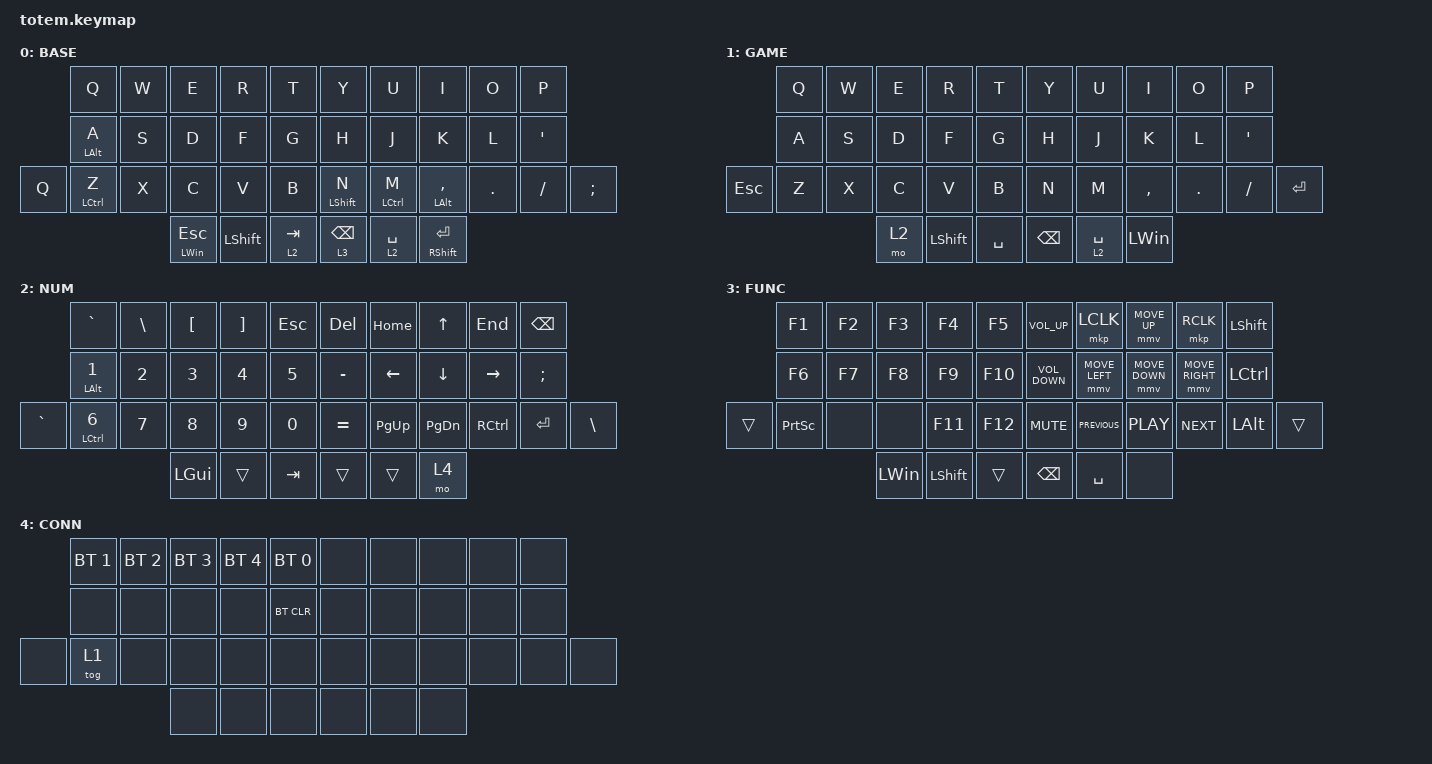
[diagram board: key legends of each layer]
//
//                                                        ▀▀▀▀▀     ▀▀▀▀▀          ▀▀█▀▀
//                                                        ▄▀▀▀▄  ▄  ▄▀▀▀▄  ▄  ▄▀▀▀▄  █  ▄▀▀▀▄
//                                                        █   █  █  █   █  █  █   █  █  █   █
//                                                         ▀▀▀   █   ▀▀▀   █   ▀▀▀   ▀   ▀▀▀
//                                                               █      ▄▄▄█▄▄▄    █   █  
//                                                               ▀      █  █  █     █▄█
//                                                             ▀▀▀▀▀    █  █  █      ▀
//                                                                      ▀  ▀  ▀
//
// ▄▄▄▄▄▄▄▄▄▄▄▄▄▄▄▄▄▄▄▄▄▄▄▄▄▄▄▄▄▄▄▄▄▄▄▄▄▄▄▄▄▄▄▄▄▄▄▄▄▄▄▄▄▄▄▄▄▄▄▄▄▄▄▄▄▄▄▄▄▄▄▄▄▄▄▄▄▄▄▄▄▄▄▄▄▄▄▄▄▄▄▄▄▄▄▄▄▄▄▄▄▄▄▄▄▄▄▄▄▄▄▄▄▄▄▄▄▄▄▄▄▄▄▄▄▄▄▄▄▄▄▄▄▄▄▄▄▄▄▄▄▄▄▄▄▄▄▄▄

#include <behaviors.dtsi>
#include <dt-bindings/zmk/bt.h>
#include <dt-bindings/zmk/keys.h>
#include <dt-bindings/zmk/mouse.h>

#define BASE 0
#define NAV  1
#define SYM  2
#define ADJ  3
#define TVP1 4
#define TVP2 5

&mt {
    quick-tap-ms = <150>;
    flavor = "tap-preferred";
};

&lt { quick-tap-ms = <150>; };

/ {
    combos {
        compatible = "zmk,combos";

        combo_esc {
            timeout-ms = <50>;
            key-positions = <0 1>;
            bindings = <&kp ESC>;
        };

        combo_tvp {
            timeout-ms = <100>;
            key-positions = <11 12 13>;
            bindings = <&tog 0>;
        };

        middle-mouse {
            bindings = <&mkp MCLK>;
            key-positions = <6 8>;
            layers = <3>;
        };
    };

    keymap {
        compatible = "zmk,keymap";

        // ▄▄▄▄▄▄▄▄▄▄▄▄▄▄▄▄▄▄▄▄▄▄▄▄▄▄▄▄▄▄▄▄▄▄▄▄▄▄▄▄▄▄▄▄▄▄▄▄▄▄▄▄▄▄▄▄▄▄▄▄▄▄▄▄▄▄▄▄▄▄▄▄▄▄▄▄▄▄▄▄▄▄▄▄▄▄▄▄▄▄▄▄▄▄▄▄▄▄▄▄▄▄▄▄▄▄▄▄▄▄▄▄▄▄▄▄▄▄▄▄▄▄▄▄▄▄▄▄▄▄▄▄▄▄▄▄▄▄▄▄▄▄▄▄▄▄▄▄▄

        base_layer {
            // ┏━━━━━━━━━━━━━━━━━━━━━━━━━━━━━━━━━━━━━━━┓

            label = "BASE";

            // ┗━━━━━━━━━━━━━━━━━━━━━━━━━━━━━━━━━━━━━━━┛
            //             ┏━━━━━━━━━━━┳━━━━━━━━━━━┳━━━━━━━━━━━┳━━━━━━━━━━━┳━━━━━━━━━━━┓   ┏━━━━━━━━━━━┳━━━━━━━━━━━┳━━━━━━━━━━━┳━━━━━━━━━━━┳━━━━━━━━━━━┓
            //             ┃     Q     ┃     W     ┃     F     ┃     P     ┃     G     ┃   ┃     J     ┃     L     ┃     U     ┃     Y     ┃     ;     ┃
            //             ┣━━━━━━━━━━━╋━━━━━━━━━━━╋━━━━━━━━━━━╋━━━━━━━━━━━╋━━━━━━━━━━━┫   ┣━━━━━━━━━━━╋━━━━━━━━━━━╋━━━━━━━━━━━╋━━━━━━━━━━━╋━━━━━━━━━━━┫
            //             ┃     A     ┃     R     ┃     S     ┃     T     ┃     D     ┃   ┃     H     ┃     N     ┃     E     ┃     I     ┃     O     ┃
            // ┏━━━━━━━━━━━╋━━━━━━━━━━━╋━━━━━━━━━━━╋━━━━━━━━━━━╋━━━━━━━━━━━╋━━━━━━━━━━━┫   ┣━━━━━━━━━━━╋━━━━━━━━━━━╋━━━━━━━━━━━╋━━━━━━━━━━━╋━━━━━━━━━━━╋━━━━━━━━━━━┓
            // ┃     Q     ┃     Z     ┃     X     ┃     C     ┃     V     ┃     B     ┃   ┃     K     ┃     M     ┃     ,     ┃     .     ┃     /     ┃     \     ┃
            // ┗━━━━━━━━━━━┻━━━━━━━━━━━┻━━━━━━━━━━━╋━━━━━━━━━━━╋━━━━━━━━━━━╋━━━━━━━━━━━┫   ┣━━━━━━━━━━━╋━━━━━━━━━━━╋━━━━━━━━━━━╋━━━━━━━━━━━┻━━━━━━━━━━━┻━━━━━━━━━━━┛
            //                                     ┃    DEL    ┃    TAB    ┃    SPC    ┃   ┃   ENTER   ┃           ┃   BSPC    ┃
            //                                     ┗━━━━━━━━━━━┻━━━━━━━━━━━┻━━━━━━━━━━━┛   ┗━━━━━━━━━━━┻━━━━━━━━━━━┻━━━━━━━━━━━┛

            bindings = <
       &kp Q           &kp W  &kp E         &kp R      &kp T        &kp Y            &kp U        &kp I                &kp O    &kp P
       &mt LEFT_ALT A  &kp S  &kp D         &kp F      &kp G        &kp H            &kp J        &kp K                &kp L    &kp SQT
&kp Q  &mt LCTRL Z     &kp X  &kp C         &kp V      &kp B        &mt LSHFT N      &mt LCTRL M  &mt LEFT_ALT COMMA   &kp DOT  &kp FSLH  &kp SEMI
                              &mt LWIN ESC  &kp LSHFT  &lt 2 TAB    &lt 3 BACKSPACE  &lt 2 SPACE  &mt RIGHT_SHIFT RET
            >;
        };

        // ▄▄▄▄▄▄▄▄▄▄▄▄▄▄▄▄▄▄▄▄▄▄▄▄▄▄▄▄▄▄▄▄▄▄▄▄▄▄▄▄▄▄▄▄▄▄▄▄▄▄▄▄▄▄▄▄▄▄▄▄▄▄▄▄▄▄▄▄▄▄▄▄▄▄▄▄▄▄▄▄▄▄▄▄▄▄▄▄▄▄▄▄▄▄▄▄▄▄▄▄▄▄▄▄▄▄▄▄▄▄▄▄▄▄▄▄▄▄▄▄▄▄▄▄▄▄▄▄▄▄▄▄▄▄▄▄▄▄▄▄▄▄▄▄▄▄▄▄▄

        game_layer {
            // ┏━━━━━━━━━━━━━━━━━━━━━━━━━━━━━━━━━━━━━━━┓

            label = "GAME";

            // ┗━━━━━━━━━━━━━━━━━━━━━━━━━━━━━━━━━━━━━━━┛
            //             ┏━━━━━━━━━━━┳━━━━━━━━━━━┳━━━━━━━━━━━┳━━━━━━━━━━━┳━━━━━━━━━━━┓   ┏━━━━━━━━━━━┳━━━━━━━━━━━┳━━━━━━━━━━━┳━━━━━━━━━━━┳━━━━━━━━━━━┓
            //             ┃           ┃           ┃     UP    ┃           ┃     {     ┃   ┃     }     ┃     7     ┃     8     ┃     9     ┃     +     ┃
            //             ┣━━━━━━━━━━━╋━━━━━━━━━━━╋━━━━━━━━━━━╋━━━━━━━━━━━╋━━━━━━━━━━━┫   ┣━━━━━━━━━━━╋━━━━━━━━━━━╋━━━━━━━━━━━╋━━━━━━━━━━━╋━━━━━━━━━━━┫
            //             ┃   SHIFT   ┃   LEFT    ┃    DOWN   ┃   RIGHT   ┃     [     ┃   ┃     ]     ┃     4     ┃     5     ┃     6     ┃     -     ┃
            // ┏━━━━━━━━━━━╋━━━━━━━━━━━╋━━━━━━━━━━━╋━━━━━━━━━━━╋━━━━━━━━━━━╋━━━━━━━━━━━┫   ┣━━━━━━━━━━━╋━━━━━━━━━━━╋━━━━━━━━━━━╋━━━━━━━━━━━╋━━━━━━━━━━━╋━━━━━━━━━━━┓
            // ┃           ┃           ┃   P UP    ┃  C LOCK   ┃  P DOWN   ┃     (     ┃   ┃     )     ┃     1     ┃     2     ┃     3     ┃     *     ┃           ┃
            // ┗━━━━━━━━━━━┻━━━━━━━━━━━┻━━━━━━━━━━━╋━━━━━━━━━━━╋━━━━━━━━━━━╋━━━━━━━━━━━┫   ┣━━━━━━━━━━━╋━━━━━━━━━━━╋━━━━━━━━━━━╋━━━━━━━━━━━┻━━━━━━━━━━━┻━━━━━━━━━━━┛
            //                                     ┃           ┃    TAB    ┃    SPC    ┃   ┃    DEL    ┃     0     ┃           ┃
            //                                     ┗━━━━━━━━━━━┻━━━━━━━━━━━┻━━━━━━━━━━━┛   ┗━━━━━━━━━━━┻━━━━━━━━━━━┻━━━━━━━━━━━┛

            bindings = <
         &kp Q  &kp W  &kp E  &kp R      &kp T        &kp Y          &kp U        &kp I      &kp O    &kp P
         &kp A  &kp S  &kp D  &kp F      &kp G        &kp H          &kp J        &kp K      &kp L    &kp SQT
&kp ESC  &kp Z  &kp X  &kp C  &kp V      &kp B        &kp N          &kp M        &kp COMMA  &kp DOT  &kp FSLH  &kp RET
                       &mo 2  &kp LSHFT  &kp SPACE    &kp BACKSPACE  &lt 2 SPACE  &kp LWIN
            >;
        };

        // ▄▄▄▄▄▄▄▄▄▄▄▄▄▄▄▄▄▄▄▄▄▄▄▄▄▄▄▄▄▄▄▄▄▄▄▄▄▄▄▄▄▄▄▄▄▄▄▄▄▄▄▄▄▄▄▄▄▄▄▄▄▄▄▄▄▄▄▄▄▄▄▄▄▄▄▄▄▄▄▄▄▄▄▄▄▄▄▄▄▄▄▄▄▄▄▄▄▄▄▄▄▄▄▄▄▄▄▄▄▄▄▄▄▄▄▄▄▄▄▄▄▄▄▄▄▄▄▄▄▄▄▄▄▄▄▄▄▄▄▄▄▄▄▄▄▄▄▄▄

        num_nav_layer {
            // ┏━━━━━━━━━━━━━━━━━━━━━━━━━━━━━━━━━━━━━━━┓

            label = "NUM";

            // ┗━━━━━━━━━━━━━━━━━━━━━━━━━━━━━━━━━━━━━━━┛
            //             ┏━━━━━━━━━━━┳━━━━━━━━━━━┳━━━━━━━━━━━┳━━━━━━━━━━━┳━━━━━━━━━━━┓   ┏━━━━━━━━━━━┳━━━━━━━━━━━┳━━━━━━━━━━━┳━━━━━━━━━━━┳━━━━━━━━━━━┓
            //             ┃     !     ┃     @     ┃     #     ┃     $     ┃     %     ┃   ┃     ˆ     ┃     &     ┃     Ü     ┃     '     ┃     "     ┃
            //             ┣━━━━━━━━━━━╋━━━━━━━━━━━╋━━━━━━━━━━━╋━━━━━━━━━━━╋━━━━━━━━━━━┫   ┣━━━━━━━━━━━╋━━━━━━━━━━━╋━━━━━━━━━━━╋━━━━━━━━━━━╋━━━━━━━━━━━┫
            //             ┃     Ä     ┃           ┃    SZ     ┃           ┃           ┃   ┃   MUTE    ┃   YEN     ┃   EURO    ┃  POUND    ┃     Ö     ┃
            // ┏━━━━━━━━━━━╋━━━━━━━━━━━╋━━━━━━━━━━━╋━━━━━━━━━━━╋━━━━━━━━━━━╋━━━━━━━━━━━┫   ┣━━━━━━━━━━━╋━━━━━━━━━━━╋━━━━━━━━━━━╋━━━━━━━━━━━╋━━━━━━━━━━━╋━━━━━━━━━━━┓
            // ┃           ┃  EMAIL1   ┃  EMAIL2   ┃           ┃           ┃           ┃   ┃   VOL-    ┃   VOL+    ┃   LAST    ┃   NEXT    ┃     \     ┃           ┃
            // ┗━━━━━━━━━━━┻━━━━━━━━━━━┻━━━━━━━━━━━╋━━━━━━━━━━━╋━━━━━━━━━━━╋━━━━━━━━━━━┫   ┣━━━━━━━━━━━╋━━━━━━━━━━━╋━━━━━━━━━━━╋━━━━━━━━━━━┻━━━━━━━━━━━┻━━━━━━━━━━━┛
            //                                     ┃           ┃    GIF    ┃    ADJ    ┃   ┃           ┃           ┃           ┃
            //                                     ┗━━━━━━━━━━━┻━━━━━━━━━━━┻━━━━━━━━━━━┛   ┗━━━━━━━━━━━┻━━━━━━━━━━━┻━━━━━━━━━━━┛

            bindings = <
           &kp GRAVE        &kp BSLH  &kp LBKT  &kp RBKT  &kp ESC    &kp DEL    &kp HOME   &kp UP     &kp END    &kp BSPC
           &mt LEFT_ALT N1  &kp N2    &kp N3    &kp N4    &kp N5     &kp MINUS  &kp LEFT   &kp DOWN   &kp RIGHT  &kp SEMI
&kp GRAVE  &mt LCTRL N6     &kp N7    &kp N8    &kp N9    &kp N0     &kp EQUAL  &kp PG_UP  &kp PG_DN  &kp RCTRL  &kp RET   &kp BSLH
                                      &kp LGUI  &trans    &kp TAB    &trans     &trans     &mo 4
            >;
        };

        // ▄▄▄▄▄▄▄▄▄▄▄▄▄▄▄▄▄▄▄▄▄▄▄▄▄▄▄▄▄▄▄▄▄▄▄▄▄▄▄▄▄▄▄▄▄▄▄▄▄▄▄▄▄▄▄▄▄▄▄▄▄▄▄▄▄▄▄▄▄▄▄▄▄▄▄▄▄▄▄▄▄▄▄▄▄▄▄▄▄▄▄▄▄▄▄▄▄▄▄▄▄▄▄▄▄▄▄▄▄▄▄▄▄▄▄▄▄▄▄▄▄▄▄▄▄▄▄▄▄▄▄▄▄▄▄▄▄▄▄▄▄▄▄▄▄▄▄▄▄

        fn_layer {
            // ┏━━━━━━━━━━━━━━━━━━━━━━━━━━━━━━━━━━━━━━━┓

            label = "FUNC";

            // ┗━━━━━━━━━━━━━━━━━━━━━━━━━━━━━━━━━━━━━━━┛
            //             ┏━━━━━━━━━━━┳━━━━━━━━━━━┳━━━━━━━━━━━┳━━━━━━━━━━━┳━━━━━━━━━━━┓   ┏━━━━━━━━━━━┳━━━━━━━━━━━┳━━━━━━━━━━━┳━━━━━━━━━━━┳━━━━━━━━━━━┓
            //             ┃   RESET   ┃ BT CLEAR  ┃  OUT TOG  ┃           ┃           ┃   ┃           ┃    F7     ┃    F8     ┃    F9     ┃    F12    ┃
            //             ┣━━━━━━━━━━━╋━━━━━━━━━━━╋━━━━━━━━━━━╋━━━━━━━━━━━╋━━━━━━━━━━━┫   ┣━━━━━━━━━━━╋━━━━━━━━━━━╋━━━━━━━━━━━╋━━━━━━━━━━━╋━━━━━━━━━━━┫
            //             ┃ BOOTLOAD  ┃ BT NEXT   ┃           ┃           ┃           ┃   ┃           ┃    F4     ┃    F5     ┃    F6     ┃    F11    ┃
            // ┏━━━━━━━━━━━╋━━━━━━━━━━━╋━━━━━━━━━━━╋━━━━━━━━━━━╋━━━━━━━━━━━╋━━━━━━━━━━━┫   ┣━━━━━━━━━━━╋━━━━━━━━━━━╋━━━━━━━━━━━╋━━━━━━━━━━━╋━━━━━━━━━━━╋━━━━━━━━━━━┓
            // ┃           ┃           ┃ BT PREV   ┃           ┃           ┃           ┃   ┃           ┃    F1     ┃    F2     ┃    F3     ┃    F10    ┃           ┃
            // ┗━━━━━━━━━━━┻━━━━━━━━━━━┻━━━━━━━━━━━╋━━━━━━━━━━━╋━━━━━━━━━━━╋━━━━━━━━━━━┫   ┣━━━━━━━━━━━╋━━━━━━━━━━━╋━━━━━━━━━━━╋━━━━━━━━━━━┻━━━━━━━━━━━┻━━━━━━━━━━━┛
            //                                     ┃           ┃           ┃           ┃   ┃           ┃           ┃           ┃
            //                                     ┗━━━━━━━━━━━┻━━━━━━━━━━━┻━━━━━━━━━━━┛   ┗━━━━━━━━━━━┻━━━━━━━━━━━┻━━━━━━━━━━━┛

            bindings = <
        &kp F1           &kp F2  &kp F3    &kp F4     &kp F5     &kp C_VOLUME_UP    &mkp LCLK       &mmv MOVE_UP    &mkp RCLK        &kp LSHFT
        &kp F6           &kp F7  &kp F8    &kp F9     &kp F10    &kp C_VOLUME_DOWN  &mmv MOVE_LEFT  &mmv MOVE_DOWN  &mmv MOVE_RIGHT  &kp LCTRL
&trans  &kp PRINTSCREEN  &none   &none     &kp F11    &kp F12    &kp C_MUTE         &kp C_PREVIOUS  &kp C_PLAY      &kp C_NEXT       &kp LEFT_ALT  &trans
                                 &kp LWIN  &kp LSHFT  &trans     &kp BACKSPACE      &kp SPACE       &none
            >;
        };

        // ▄▄▄▄▄▄▄▄▄▄▄▄▄▄▄▄▄▄▄▄▄▄▄▄▄▄▄▄▄▄▄▄▄▄▄▄▄▄▄▄▄▄▄▄▄▄▄▄▄▄▄▄▄▄▄▄▄▄▄▄▄▄▄▄▄▄▄▄▄▄▄▄▄▄▄▄▄▄▄▄▄▄▄▄▄▄▄▄▄▄▄▄▄▄▄▄▄▄▄▄▄▄▄▄▄▄▄▄▄▄▄▄▄▄▄▄▄▄▄▄▄▄▄▄▄▄▄▄▄▄▄▄▄▄▄▄▄▄▄▄▄▄▄▄▄▄▄▄▄

        connect {
            bindings = <
       &bt BT_SEL 1  &bt BT_SEL 2  &bt BT_SEL 3  &bt BT_SEL 4  &bt BT_SEL 0    &none  &none  &none  &none  &none
       &none         &none         &none         &none         &bt BT_CLR      &none  &none  &none  &none  &none
&none  &tog 1        &none         &none         &none         &none           &none  &none  &none  &none  &none  &none
                                   &none         &none         &none           &none  &none  &none
            >;

            label = "CONN";
        };

        // ▄▄▄▄▄▄▄▄▄▄▄▄▄▄▄▄▄▄▄▄▄▄▄▄▄▄▄▄▄▄▄▄▄▄▄▄▄▄▄▄▄▄▄▄▄▄▄▄▄▄▄▄▄▄▄▄▄▄▄▄▄▄▄▄▄▄▄▄▄▄▄▄▄▄▄▄▄▄▄▄▄▄▄▄▄▄▄▄▄▄▄▄▄▄▄▄▄▄▄▄▄▄▄▄▄▄▄▄▄▄▄▄▄▄▄▄▄▄▄▄▄▄▄▄▄▄▄▄▄▄▄▄▄▄▄▄▄▄▄▄▄▄▄▄▄▄▄▄▄
    };
};
